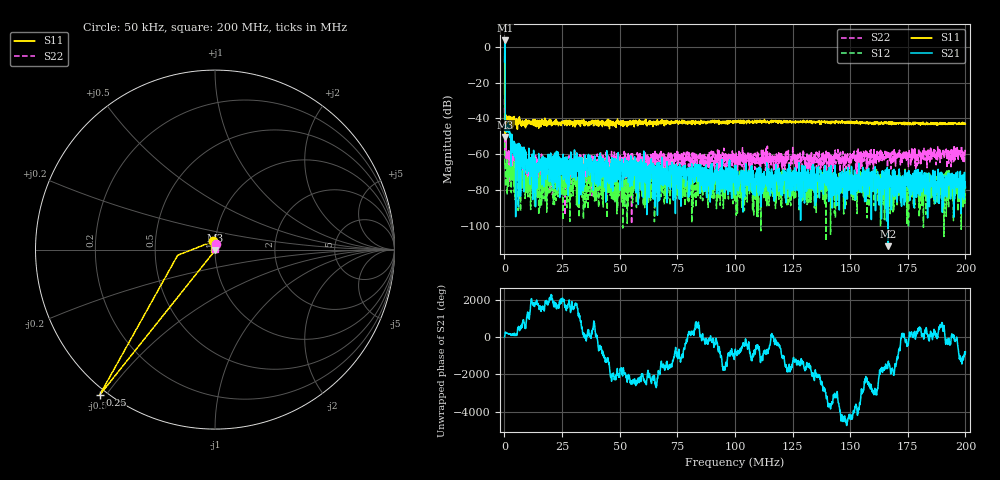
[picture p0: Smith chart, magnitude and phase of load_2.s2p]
! 26-Feb-26 1:59:19 PM
! E:\VNA_MEASUREMENTS\CAL_ENDS\LOAD_2.S2P
! CHANNEL.1
! TR.MEASUREMENT
! CORRECTED.DATA
# GHZ S RI R 50.0
! FREQ.GHZ  S11RE  S11IM  S21RE  S21IM  S12RE  S12IM  S22RE  S22IM
!; PortSelection: Port_12
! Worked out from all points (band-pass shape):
!   2000 points, 50 kHz to 200 MHz, reference 50 ohm
!   highest |S21| = 3.49 dB at 150 kHz (marker M1); lowest = -111.2 dB at 166.4 MHz (marker M2)
!   |S21| within 3 dB of the highest: 124.6 kHz to 203.3 kHz (78.64 kHz wide, 48 % of centre)
!   lowest |S11| = -50.3 dB at 350.1 kHz (marker M3), VSWR 1.01, Z = 50.2 - j0.231 ohm
!   |S11| at or under -10 dB: start of sweep to 175.6 kHz; 270.4 kHz to end of sweep
!   |S22| runs from -98.9 to -29.3 dB; largest |S21 - S12| = 1.5
!   S11 on the Smith chart (normalised r, x): 50 kHz: 0.98, +0.09; 250 kHz: -0.02, -0.48; 200 MHz: 0.99, +0.00
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5e-05  -0.00895 0.0465  0.3669 0.1126  7.5e-05 -0.00605  0.0058 0.0339
0.000150025  -0.208 -0.0316  0.1037 1.491  0.000546 -1.53e-05  -0.000266 -0.00102
0.00025005  -0.643 -0.8109  -0.6772 0.3887  -0.000602 3.7e-06  0.00106 -0.00194
0.000350075  0.00204 -0.0023  -0.000656 -0.0044  0.000198 -0.000139  -0.00182 0.000596
0.001350325  -0.0113 0.000463  -0.00534 -0.00161  4.49e-05 -0.00014  -0.000482 6.14e-05
0.006051501  -0.0088 0.000466  -2.78e-05 -2.09e-05  0.000182 0.000209  0.000214 8.5e-05
0.009852451  -0.00658 -0.000586  -0.00029 0.000355  -7.86e-05 -0.000178  0.000415 0.00018
0.01305325  -0.00909 -0.000484  -0.000605 -0.0003  -2.39e-05 2.75e-05  0.000722 0.00018
0.01515378  -0.00871 0.000607  -6.15e-05 0.000331  -0.000268 -0.000202  0.000529 0.000111
0.0276569  -0.00696 0.000637  7.1e-05 -6.3e-06  -0.000289 0.000146  0.000482 -0.000209
0.03115778  -0.0086 0.000748  0.000312 -0.000612  0.000147 -0.000121  4.1e-06 0.000185
0.03345835  -0.0072 0.000754  -0.000294 0.00077  7.82e-05 -0.000157  0.000469 9.2e-05
0.03575893  -0.00769 0.000702  -0.000158 0.000708  -0.000158 3.3e-05  0.000633 0.000339
0.04036008  -0.00657 0.000978  -0.000337 -0.000271  -5.16e-05 -0.000107  0.000523 0.000108
0.05406351  -0.00666 0.000786  0.000228 0.000254  9.8e-06 0.00014  0.000861 0.000149
0.06676668  -0.00848 0.000389  0.000459 6.29e-05  -9.67e-05 3.23e-05  0.000433 0.000144
0.09087271  -0.00773 0.00136  -0.000292 3.63e-05  5.46e-05 1.09e-05  0.000286 0.000336
0.100075  -0.00846 0.000796  0.000404 -0.000292  4.48e-05 2.46e-05  0.000436 0.000272
0.1333833  -0.00792 0.00171  3.82e-05 0.00031  7.4e-05 -6.46e-05  0.000197 0.000356
0.1663916  -0.00773 0.00131  2.6e-06 -9e-07  -0.000115 0.000177  0.000354 0.000747
0.1666917  -0.00766 0.00214  0.000282 -6.43e-05  -2.55e-05 -2.47e-05  0.000741 0.000409
0.2  -0.00668 0.0024  4.3e-06 -0.000117  3.74e-05 7.53e-05  0.000647 0.00113
